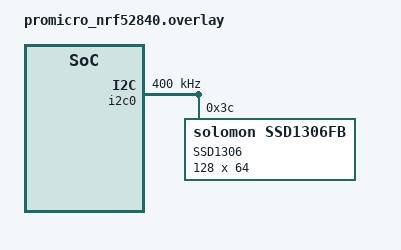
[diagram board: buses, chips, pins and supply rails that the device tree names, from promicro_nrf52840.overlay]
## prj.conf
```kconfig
CONFIG_LV_Z_MEM_POOL_SIZE=16384
CONFIG_LV_Z_SHELL=y
CONFIG_MAIN_STACK_SIZE=2048

CONFIG_I2C=y
CONFIG_I2C_NRFX=y
CONFIG_LOG=y

CONFIG_DISPLAY=y
CONFIG_DISPLAY_LOG_LEVEL_ERR=y

CONFIG_SSD1306=y

CONFIG_LVGL=y
CONFIG_LV_MEM_CUSTOM=y
CONFIG_LV_USE_LOG=y
CONFIG_LV_USE_LABEL=y
CONFIG_LV_USE_BTN=y
CONFIG_LV_USE_IMG=y
CONFIG_LV_FONT_MONTSERRAT_14=y

CONFIG_LV_Z_BITS_PER_PIXEL=1
CONFIG_APP_LINK_WITH_LVGL=y

CONFIG_LOG=y
CONFIG_SHELL=y

CONFIG_LVGL=y
CONFIG_LV_MEM_CUSTOM=y
CONFIG_LV_USE_LOG=y
CONFIG_LV_USE_LABEL=y
CONFIG_LV_USE_BTN=y
CONFIG_LV_USE_ARC=y
CONFIG_LV_USE_IMG=y
CONFIG_LV_USE_MONKEY=y
CONFIG_LV_FONT_MONTSERRAT_14=y
CONFIG_LV_FONT_UNSCII_8=y

# One of these three is crucial for the display to work
CONFIG_LV_USE_THEME_DEFAULT=y
CONFIG_LV_Z_VDB_SIZE=64
CONFIG_LV_COLOR_DEPTH_1=y


CONFIG_BUILD_OUTPUT_UF2=y
CONFIG_ROM_START_OFFSET=0x1000
```

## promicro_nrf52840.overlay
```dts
// To get started, press Ctrl+Space to bring up the completion menu and view the available nodes.

// You can also use the buttons in the sidebar to perform actions on nodes.
// Actions currently available include:

// * Enabling / disabling the node
// * Adding the bus to a bus
// * Removing the node
// * Connecting ADC channels

// For more help, browse the DeviceTree documentation at https://docs.zephyrproject.org/latest/guides/dts/index.html
// You can also visit the nRF DeviceTree extension documentation at https://docs.nordicsemi.com/bundle/nrf-connect-vscode/page/guides/ncs_configure_app.html#devicetree-support-in-the-extension

/ {
    chosen {
        zephyr,display = &ssd1306;
    };



    zephyr,user {

    };
};


&i2c0 {
	compatible = "nordic,nrf-twi";
	status = "okay";
	clock-frequency = <I2C_BITRATE_FAST>;
	// sda-pin = <29>;
	// scl-pin = <2>;

    ssd1306: ssd1306@3c {
        compatible = "solomon,ssd1306fb";
        reg = <0x3c>;
        label = "SSD1306";
        height = <64>;
        width  = <128>;
        segment-offset  = <0>;
        page-offset     = <0>;
        display-offset  = <0>;
        multiplex-ratio = <63>;
        prechargep      = <0xD1>;
        segment-remap;
        com-invdir;
        com-sequential;

    };
};
&i2c0_default {
    group1 {
        psels = <NRF_PSEL(TWIM_SDA, 0, 29)>, <NRF_PSEL(TWIM_SCL, 0, 2)>;
    };
};

&i2c0_sleep {
    group1 {
        psels = <NRF_PSEL(TWIM_SDA, 0, 29)>, <NRF_PSEL(TWIM_SCL, 0, 2)>;
    };
};

&spi1_default {
    group1 {
        psels = <NRF_PSEL(SPIM_MOSI, 0, 24)>,
                <NRF_PSEL(SPIM_MISO, 1, 0)>,
                <NRF_PSEL(SPIM_SCK, 0, 22)>;
    };
};

&spi1_sleep {
    group1 {
        psels = <NRF_PSEL(SPIM_SCK, 0, 22)>,
                <NRF_PSEL(SPIM_MOSI, 0, 24)>,
                <NRF_PSEL(SPIM_MISO, 1, 0)>;
    };
};
```

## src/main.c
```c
/*
 * Copyright (c) 2018 Jan Van Winkel <jan.van_winkel@dxplore.eu>
 *
 * SPDX-License-Identifier: Apache-2.0
 */

#include <zephyr/device.h>
#include <zephyr/devicetree.h>
#include <zephyr/drivers/display.h>
#include <zephyr/drivers/gpio.h>
#include <lvgl.h>
#include <stdio.h>
#include <string.h>
#include <zephyr/kernel.h>
#include <lvgl_input_device.h>



#define LOG_LEVEL CONFIG_LOG_DEFAULT_LEVEL
#include <zephyr/logging/log.h>
LOG_MODULE_REGISTER(app);

static uint32_t count;

#ifdef CONFIG_GPIO
static struct gpio_dt_spec button_gpio = GPIO_DT_SPEC_GET_OR(
		DT_ALIAS(sw0), gpios, {0});
static struct gpio_callback button_callback;

static void button_isr_callback(const struct device *port,
				struct gpio_callback *cb,
				uint32_t pins)
{
	ARG_UNUSED(port);
	ARG_UNUSED(cb);
	ARG_UNUSED(pins);

	count = 0;
}
#endif /* CONFIG_GPIO */

#ifdef CONFIG_LV_Z_ENCODER_INPUT
static const struct device *lvgl_encoder =
	DEVICE_DT_GET(DT_COMPAT_GET_ANY_STATUS_OKAY(zephyr_lvgl_encoder_input));
#endif /* CONFIG_LV_Z_ENCODER_INPUT */

#ifdef CONFIG_LV_Z_KEYPAD_INPUT
static const struct device *lvgl_keypad =
	DEVICE_DT_GET(DT_COMPAT_GET_ANY_STATUS_OKAY(zephyr_lvgl_keypad_input));
#endif /* CONFIG_LV_Z_KEYPAD_INPUT */

static void lv_btn_click_callback(lv_event_t *e)
{
	ARG_UNUSED(e);

	count = 0;
}

int main(void)
{
	char count_str[11] = {0};
	const struct device *display_dev;
	lv_obj_t *hello_world_label;
	lv_obj_t *count_label;

	//gpio_pin_set_raw(0, 31, GPIO_INT_LOW_0);

	lv_init();
	//k_sleep(K_MSEC(100));
	display_dev = DEVICE_DT_GET(DT_CHOSEN(zephyr_display));
	if (!device_is_ready(display_dev)) {
		LOG_ERR("Device not ready, aborting test");
		return 0;
	}

#ifdef CONFIG_GPIO
	if (gpio_is_ready_dt(&button_gpio)) {
		int err;

		err = gpio_pin_configure_dt(&button_gpio, GPIO_INPUT);
		if (err) {
			LOG_ERR("failed to configure button gpio: %d", err);
			return 0;
		}

		gpio_init_callback(&button_callback, button_isr_callback,
				   BIT(button_gpio.pin));

		err = gpio_add_callback(button_gpio.port, &button_callback);
		if (err) {
			LOG_ERR("failed to add button callback: %d", err);
			return 0;
		}

		err = gpio_pin_interrupt_configure_dt(&button_gpio,
						      GPIO_INT_EDGE_TO_ACTIVE);
		if (err) {
			LOG_ERR("failed to enable button callback: %d", err);
			return 0;
		}
	}
#endif /* CONFIG_GPIO */

#ifdef CONFIG_LV_Z_ENCODER_INPUT
	lv_obj_t *arc;
	lv_group_t *arc_group;

	arc = lv_arc_create(lv_scr_act());
	lv_obj_align(arc, LV_ALIGN_CENTER, 0, -15);
	lv_obj_set_size(arc, 150, 150);

	arc_group = lv_group_create();
	lv_group_add_obj(arc_group, arc);
	lv_indev_set_group(lvgl_input_get_indev(lvgl_encoder), arc_group);
#endif /* CONFIG_LV_Z_ENCODER_INPUT */

#ifdef CONFIG_LV_Z_KEYPAD_INPUT
	lv_obj_t *btn_matrix;
	lv_group_t *btn_matrix_group;
	static const char *const btnm_map[] = {"1", "2", "3", "4", ""};

	btn_matrix = lv_btnmatrix_create(lv_scr_act());
	lv_obj_align(btn_matrix, LV_ALIGN_CENTER, 0, 70);
	lv_btnmatrix_set_map(btn_matrix, (const char **)btnm_map);
	lv_obj_set_size(btn_matrix, 100, 50);

	btn_matrix_group = lv_group_create();
	lv_group_add_obj(btn_matrix_group, btn_matrix);
	lv_indev_set_group(lvgl_input_get_indev(lvgl_keypad), btn_matrix_group);
#endif /* CONFIG_LV_Z_KEYPAD_INPUT */

	if (IS_ENABLED(CONFIG_LV_Z_POINTER_INPUT)) {
		lv_obj_t *hello_world_button;

		hello_world_button = lv_btn_create(lv_scr_act());
		lv_obj_align(hello_world_button, LV_ALIGN_CENTER, 0, -15);
		lv_obj_add_event_cb(hello_world_button, lv_btn_click_callback, LV_EVENT_CLICKED,
				    NULL);
		hello_world_label = lv_label_create(hello_world_button);
	} else {
		hello_world_label = lv_label_create(lv_scr_act());
	}

	
	lv_label_set_text(hello_world_label, "Hella world!");
	lv_obj_set_style_text_font(hello_world_label, &lv_font_unscii_8, 0);
	int32_t h = lv_obj_get_height(hello_world_label);
	lv_obj_align(hello_world_label, LV_ALIGN_TOP_LEFT, 0, 0);
	
	count_label = lv_label_create(lv_scr_act());
	lv_obj_align(count_label, LV_ALIGN_BOTTOM_RIGHT, 0, 0);
	lv_task_handler();

	lv_task_handler();
	display_blanking_off(display_dev);

	while (1) {
		if ((count % 100) == 0U) {
			sprintf(count_str, "%d", h ); // count/100U);
			lv_label_set_text(count_label, count_str);
		}
		lv_task_handler();
		++count;
		k_sleep(K_MSEC(10));
	} 
}
```
